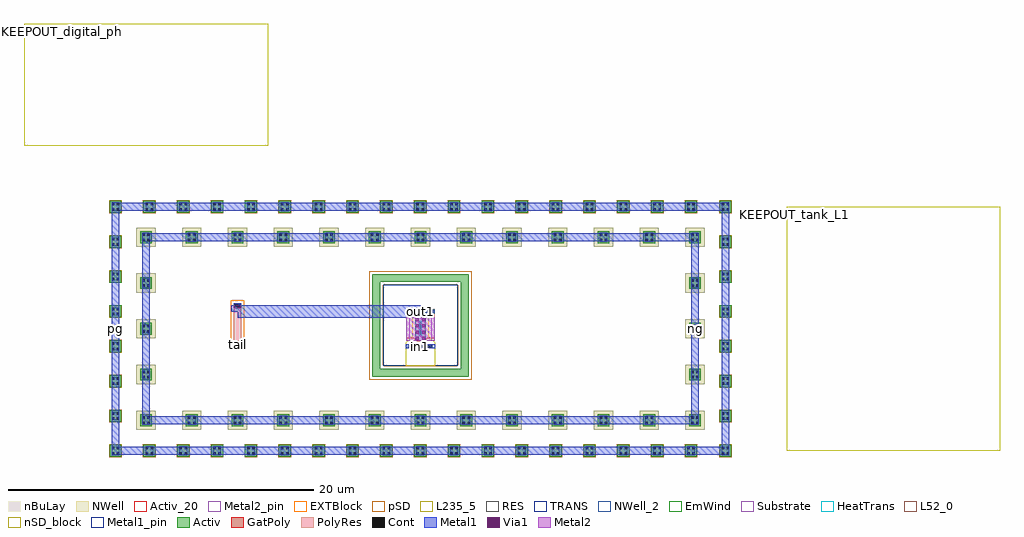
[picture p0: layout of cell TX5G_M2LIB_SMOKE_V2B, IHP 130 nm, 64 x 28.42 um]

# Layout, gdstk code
import gdstk
lib = gdstk.Library(unit=1e-6, precision=1e-09)
def R(c, l, rs):  # rectangles x0, y0, x1, y1
    for r in rs: c.add(gdstk.rectangle(r[:2], r[2:], *l))
def A(c, l, x, y, w, h, nx, ny, dx, dy):  # array of equal rectangles
    R(c, l, [(x+i*dx, y+j*dy, x+i*dx+w, y+j*dy+h) for i in range(nx) for j in range(ny)])
def P(c, l, *ps):  # polygons
    for p in ps: c.add(gdstk.Polygon(p, *l))
Activ = (1, 0)
Activ_20 = (1, 20)
GatPoly = (5, 0)
Cont = (6, 0)
nSD_block = (7, 21)
Metal1 = (8, 0)
Metal1_pin = (8, 2)
Metal2 = (10, 0)
Metal2_pin = (10, 2)
pSD = (14, 0)
Via1 = (19, 0)
RES = (24, 0)
TRANS = (26, 0)
NWell = (31, 0)
NWell_2 = (31, 2)
nBuLay = (32, 0)
EmWind = (33, 0)
Substrate = (40, 0)
HeatTrans = (51, 0)
L52_0 = (52, 0)
EXTBlock = (111, 0)
PolyRes = (128, 0)
L235_5 = (235, 5)

ptap1 = lib.new_cell('ptap1')
R(ptap1, Activ, [(0,0,0.78,0.78)])
R(ptap1, Cont, [(0.14,0.14,0.3,0.3), (0.48,0.14,0.64,0.3), (0.14,0.48,0.3,0.64), (0.48,0.48,0.64,0.64)])
R(ptap1, Metal1, [(0.14,0.09,0.64,0.69), (0.14,0.14,0.64,0.64), (0.14,0.14,0.64,0.64)])
R(ptap1, Metal1_pin, [(0.14,0.14,0.64,0.64)])
R(ptap1, pSD, [(-0.03,-0.03,0.81,0.81)])
R(ptap1, Substrate, [(0,0,0.78,0.78), (0,0,0.78,0.78)])
ptap1.add(gdstk.Label('sub!', (0.39,0.01), layer=63, texttype=0))
ptap1.add(gdstk.Label('sub!', (0.39,0.01), layer=40, texttype=0))

ntap1 = lib.new_cell('ntap1')
R(ntap1, Activ, [(0,0,0.78,0.78)])
R(ntap1, Cont, [(0.14,0.14,0.3,0.3), (0.48,0.14,0.64,0.3), (0.14,0.48,0.3,0.64), (0.48,0.48,0.64,0.64)])
R(ntap1, Metal1, [(0.14,0.09,0.64,0.69)])
R(ntap1, Metal1_pin, [(0.14,0.09,0.64,0.69), (0.14,0.14,0.64,0.64), (0.14,0.14,0.64,0.64)])
R(ntap1, NWell, [(-0.24,-0.24,1.02,1.02), (0,0,0.78,0.78), (0,0,0.78,0.78)])
R(ntap1, NWell_2, [(0,0,0.78,0.78)])
R(ntap1, nBuLay, [(-0.24,-0.24,1.02,1.02)])
ntap1.add(gdstk.Label('well', (0.39,0.01), layer=63, texttype=0))
ntap1.add(gdstk.Label('well', (0.39,0.01), layer=31, texttype=0))

npn13g2 = lib.new_cell('npn13G2')
R(npn13g2, Activ, [(-0.925,0.98,0.925,1.28)])
P(npn13g2, Activ, [(-3.15,-3.13),(-3.15,3.58),(2.65,3.58),(2.65,3.08),(-2.65,3.08),(-2.65,-2.63),(2.65,-2.63),(2.65,3.58),(3.15,3.58),(3.15,-3.13)])
P(npn13g2, Activ_20, [(-0.235,-0.83),(-0.445,-0.62),(-0.925,-0.62),(-0.925,0.98),(0.925,0.98),(0.925,-0.62),(0.445,-0.62),(0.235,-0.83)])
R(npn13g2, Cont, [(-0.76,-1.22,0.76,-1.06), (-0.825,1.05,0.825,1.21)])
P(npn13g2, nSD_block, [(-0.975,-2.43),(-0.975,-0.9),(-0.555,-0.48),(-0.555,0.69),(-0.305,0.94),(0.305,0.94),(0.555,0.69),(0.555,-0.48),(0.975,-0.9),(0.975,-2.43)])
R(npn13g2, Metal1, [(-0.975,-1.26,0.975,-1.02), (-0.35,-0.785,0.35,0.77), (-0.925,1.01,0.925,1.25)])
R(npn13g2, Metal1_pin, [(-0.975,-1.26,0.975,-1.02), (-0.975,-1.26,0.975,-1.02), (-0.925,1.01,0.925,1.25), (-0.925,1.01,0.925,1.25)])
R(npn13g2, Metal2, [(-0.925,-0.785,0.925,0.77)])
R(npn13g2, Metal2_pin, [(-0.745,-0.785,0.745,0.77), (-0.745,-0.785,0.745,0.77)])
P(npn13g2, pSD, [(-3.35,-3.33),(-3.35,3.78),(2.45,3.78),(2.45,2.88),(-2.45,2.88),(-2.45,-2.43),(2.45,-2.43),(2.45,3.78),(3.35,3.78),(3.35,-3.33)])
A(npn13g2, Via1, -0.3, -0.72, 0.19, 0.19, 1, 4, 0, 0.41)
A(npn13g2, Via1, 0.11, -0.72, 0.19, 0.19, 1, 4, 0, 0.41)
R(npn13g2, TRANS, [(-2.45,-2.43,2.45,2.88)])
R(npn13g2, EmWind, [(-0.035,-0.45,0.035,0.45)])
R(npn13g2, HeatTrans, [(-0.085,-0.5,0.085,0.5)])
npn13g2.add(gdstk.Label('npn13G2', (0.015,2.31), layer=63, texttype=0))
npn13g2.add(gdstk.Label('C', (0,1.13), layer=63, texttype=0))
npn13g2.add(gdstk.Label('B', (0,-1.14), layer=63, texttype=0))
npn13g2.add(gdstk.Label('E', (0,-0.007), layer=63, texttype=0))
npn13g2.add(gdstk.Label('Ae=1*1*0.07*0.90', (-1.977,-2.546), layer=63, texttype=0))
npn13g2.add(gdstk.Label('npn13G2', (0,0), layer=51, texttype=0))

rsil = lib.new_cell('rsil')
R(rsil, GatPoly, [(0,-0.35,0.5,0), (0,2.14,0.5,2.49)])
R(rsil, Cont, [(0.07,-0.28,0.43,-0.12), (0.07,2.26,0.43,2.42)])
R(rsil, Metal1, [(0.02,-0.33,0.48,-0.07), (0.02,2.21,0.48,2.47)])
R(rsil, Metal1_pin, [(0.02,-0.33,0.48,-0.07), (0.02,-0.33,0.48,-0.07), (0.02,2.21,0.48,2.47), (0.02,2.21,0.48,2.47)])
R(rsil, RES, [(0,0,0.5,2.14)])
R(rsil, L52_0, [(0,0,0.5,2.14)])
R(rsil, EXTBlock, [(-0.18,-0.53,0.68,0), (-0.18,0,0.68,2.14), (-0.18,0,0.68,2.67)])
R(rsil, PolyRes, [(0,0,0.5,2.14)])
rsil.add(gdstk.Label('rsil r=47.4', (0.25,1.07), layer=63, texttype=0))
rsil.add(gdstk.Label('rsil', (0.25,1.07), layer=52, texttype=0))

tx5g_m2lib_smoke_v2b = lib.new_cell('TX5G_M2LIB_SMOKE_V2B')
R(tx5g_m2lib_smoke_v2b, Metal1, [(20,-8.25,60,-7.75), (19.75,-8,20.25,8), (59.75,-8,60.25,8), (22,-6.25,58,-5.75), (21.75,-6,22.25,6), (57.75,-6,58.25,6), (28,0.73,40,1.53), (27.6,1.13,28.4,1.54), (22,5.75,58,6.25), (20,7.75,60,8.25)])
R(tx5g_m2lib_smoke_v2b, L235_5, [(64,-8,78,8), (14,12,30,20)])
tx5g_m2lib_smoke_v2b.add(gdstk.Reference(ptap1, (19.61,-8.39)))
tx5g_m2lib_smoke_v2b.add(gdstk.Reference(ptap1, (19.61,7.61)))
tx5g_m2lib_smoke_v2b.add(gdstk.Reference(ptap1, (21.83,-8.39)))
tx5g_m2lib_smoke_v2b.add(gdstk.Reference(ptap1, (21.83,7.61)))
tx5g_m2lib_smoke_v2b.add(gdstk.Reference(ptap1, (24.05,-8.39)))
tx5g_m2lib_smoke_v2b.add(gdstk.Reference(ptap1, (24.05,7.61)))
tx5g_m2lib_smoke_v2b.add(gdstk.Reference(ptap1, (26.27,-8.39)))
tx5g_m2lib_smoke_v2b.add(gdstk.Reference(ptap1, (26.27,7.61)))
tx5g_m2lib_smoke_v2b.add(gdstk.Reference(ptap1, (28.49,-8.39)))
tx5g_m2lib_smoke_v2b.add(gdstk.Reference(ptap1, (28.49,7.61)))
tx5g_m2lib_smoke_v2b.add(gdstk.Reference(ptap1, (30.71,-8.39)))
tx5g_m2lib_smoke_v2b.add(gdstk.Reference(ptap1, (30.71,7.61)))
tx5g_m2lib_smoke_v2b.add(gdstk.Reference(ptap1, (32.93,-8.39)))
tx5g_m2lib_smoke_v2b.add(gdstk.Reference(ptap1, (32.93,7.61)))
tx5g_m2lib_smoke_v2b.add(gdstk.Reference(ptap1, (35.15,-8.39)))
tx5g_m2lib_smoke_v2b.add(gdstk.Reference(ptap1, (35.15,7.61)))
tx5g_m2lib_smoke_v2b.add(gdstk.Reference(ptap1, (37.37,-8.39)))
tx5g_m2lib_smoke_v2b.add(gdstk.Reference(ptap1, (37.37,7.61)))
tx5g_m2lib_smoke_v2b.add(gdstk.Reference(ptap1, (39.59,-8.39)))
tx5g_m2lib_smoke_v2b.add(gdstk.Reference(ptap1, (39.59,7.61)))
tx5g_m2lib_smoke_v2b.add(gdstk.Reference(ptap1, (41.81,-8.39)))
tx5g_m2lib_smoke_v2b.add(gdstk.Reference(ptap1, (41.81,7.61)))
tx5g_m2lib_smoke_v2b.add(gdstk.Reference(ptap1, (44.03,-8.39)))
tx5g_m2lib_smoke_v2b.add(gdstk.Reference(ptap1, (44.03,7.61)))
tx5g_m2lib_smoke_v2b.add(gdstk.Reference(ptap1, (46.25,-8.39)))
tx5g_m2lib_smoke_v2b.add(gdstk.Reference(ptap1, (46.25,7.61)))
tx5g_m2lib_smoke_v2b.add(gdstk.Reference(ptap1, (48.47,-8.39)))
tx5g_m2lib_smoke_v2b.add(gdstk.Reference(ptap1, (48.47,7.61)))
tx5g_m2lib_smoke_v2b.add(gdstk.Reference(ptap1, (50.69,-8.39)))
tx5g_m2lib_smoke_v2b.add(gdstk.Reference(ptap1, (50.69,7.61)))
tx5g_m2lib_smoke_v2b.add(gdstk.Reference(ptap1, (52.91,-8.39)))
tx5g_m2lib_smoke_v2b.add(gdstk.Reference(ptap1, (52.91,7.61)))
tx5g_m2lib_smoke_v2b.add(gdstk.Reference(ptap1, (55.13,-8.39)))
tx5g_m2lib_smoke_v2b.add(gdstk.Reference(ptap1, (55.13,7.61)))
tx5g_m2lib_smoke_v2b.add(gdstk.Reference(ptap1, (57.35,-8.39)))
tx5g_m2lib_smoke_v2b.add(gdstk.Reference(ptap1, (57.35,7.61)))
tx5g_m2lib_smoke_v2b.add(gdstk.Reference(ptap1, (59.61,-8.39)))
tx5g_m2lib_smoke_v2b.add(gdstk.Reference(ptap1, (59.61,7.61)))
tx5g_m2lib_smoke_v2b.add(gdstk.Reference(ptap1, (19.61,-6.105)))
tx5g_m2lib_smoke_v2b.add(gdstk.Reference(ptap1, (59.61,-6.105)))
tx5g_m2lib_smoke_v2b.add(gdstk.Reference(ptap1, (19.61,-3.82)))
tx5g_m2lib_smoke_v2b.add(gdstk.Reference(ptap1, (59.61,-3.82)))
tx5g_m2lib_smoke_v2b.add(gdstk.Reference(ptap1, (19.61,-1.535)))
tx5g_m2lib_smoke_v2b.add(gdstk.Reference(ptap1, (59.61,-1.535)))
tx5g_m2lib_smoke_v2b.add(gdstk.Reference(ptap1, (19.61,0.75)))
tx5g_m2lib_smoke_v2b.add(gdstk.Reference(ptap1, (59.61,0.75)))
tx5g_m2lib_smoke_v2b.add(gdstk.Reference(ptap1, (19.61,3.035)))
tx5g_m2lib_smoke_v2b.add(gdstk.Reference(ptap1, (59.61,3.035)))
tx5g_m2lib_smoke_v2b.add(gdstk.Reference(ptap1, (19.61,5.32)))
tx5g_m2lib_smoke_v2b.add(gdstk.Reference(ptap1, (59.61,5.32)))
tx5g_m2lib_smoke_v2b.add(gdstk.Reference(ntap1, (21.61,-6.39)))
tx5g_m2lib_smoke_v2b.add(gdstk.Reference(ntap1, (21.61,5.61)))
tx5g_m2lib_smoke_v2b.add(gdstk.Reference(ntap1, (24.61,-6.39)))
tx5g_m2lib_smoke_v2b.add(gdstk.Reference(ntap1, (24.61,5.61)))
tx5g_m2lib_smoke_v2b.add(gdstk.Reference(ntap1, (27.61,-6.39)))
tx5g_m2lib_smoke_v2b.add(gdstk.Reference(ntap1, (27.61,5.61)))
tx5g_m2lib_smoke_v2b.add(gdstk.Reference(ntap1, (30.61,-6.39)))
tx5g_m2lib_smoke_v2b.add(gdstk.Reference(ntap1, (30.61,5.61)))
tx5g_m2lib_smoke_v2b.add(gdstk.Reference(ntap1, (33.61,-6.39)))
tx5g_m2lib_smoke_v2b.add(gdstk.Reference(ntap1, (33.61,5.61)))
tx5g_m2lib_smoke_v2b.add(gdstk.Reference(ntap1, (36.61,-6.39)))
tx5g_m2lib_smoke_v2b.add(gdstk.Reference(ntap1, (36.61,5.61)))
tx5g_m2lib_smoke_v2b.add(gdstk.Reference(ntap1, (39.61,-6.39)))
tx5g_m2lib_smoke_v2b.add(gdstk.Reference(ntap1, (39.61,5.61)))
tx5g_m2lib_smoke_v2b.add(gdstk.Reference(ntap1, (42.61,-6.39)))
tx5g_m2lib_smoke_v2b.add(gdstk.Reference(ntap1, (42.61,5.61)))
tx5g_m2lib_smoke_v2b.add(gdstk.Reference(ntap1, (45.61,-6.39)))
tx5g_m2lib_smoke_v2b.add(gdstk.Reference(ntap1, (45.61,5.61)))
tx5g_m2lib_smoke_v2b.add(gdstk.Reference(ntap1, (48.61,-6.39)))
tx5g_m2lib_smoke_v2b.add(gdstk.Reference(ntap1, (48.61,5.61)))
tx5g_m2lib_smoke_v2b.add(gdstk.Reference(ntap1, (51.61,-6.39)))
tx5g_m2lib_smoke_v2b.add(gdstk.Reference(ntap1, (51.61,5.61)))
tx5g_m2lib_smoke_v2b.add(gdstk.Reference(ntap1, (54.61,-6.39)))
tx5g_m2lib_smoke_v2b.add(gdstk.Reference(ntap1, (54.61,5.61)))
tx5g_m2lib_smoke_v2b.add(gdstk.Reference(ntap1, (57.61,-6.39)))
tx5g_m2lib_smoke_v2b.add(gdstk.Reference(ntap1, (57.61,5.61)))
tx5g_m2lib_smoke_v2b.add(gdstk.Reference(ntap1, (21.61,-3.39)))
tx5g_m2lib_smoke_v2b.add(gdstk.Reference(ntap1, (57.61,-3.39)))
tx5g_m2lib_smoke_v2b.add(gdstk.Reference(ntap1, (21.61,-0.39)))
tx5g_m2lib_smoke_v2b.add(gdstk.Reference(ntap1, (57.61,-0.39)))
tx5g_m2lib_smoke_v2b.add(gdstk.Reference(ntap1, (21.61,2.61)))
tx5g_m2lib_smoke_v2b.add(gdstk.Reference(ntap1, (57.61,2.61)))
tx5g_m2lib_smoke_v2b.add(gdstk.Reference(npn13g2, (40,0)))
tx5g_m2lib_smoke_v2b.add(gdstk.Reference(rsil, (27.75,-0.8)))
tx5g_m2lib_smoke_v2b.add(gdstk.Label('pg', (20,0), layer=8, texttype=25))
tx5g_m2lib_smoke_v2b.add(gdstk.Label('ng', (58,0), layer=8, texttype=25))
tx5g_m2lib_smoke_v2b.add(gdstk.Label('out1', (40,1.13), layer=8, texttype=25))
tx5g_m2lib_smoke_v2b.add(gdstk.Label('in1', (40,-1.14), layer=8, texttype=25))
tx5g_m2lib_smoke_v2b.add(gdstk.Label('tail', (28,-1), layer=8, texttype=25))
tx5g_m2lib_smoke_v2b.add(gdstk.Label('KEEPOUT_tank_L1', (64.5,7.5), layer=235, texttype=5))
tx5g_m2lib_smoke_v2b.add(gdstk.Label('KEEPOUT_digital_ph', (14.5,19.5), layer=235, texttype=5))

lib.write_gds('TX5G_M2LIB_SMOKE_V2B.gds')
